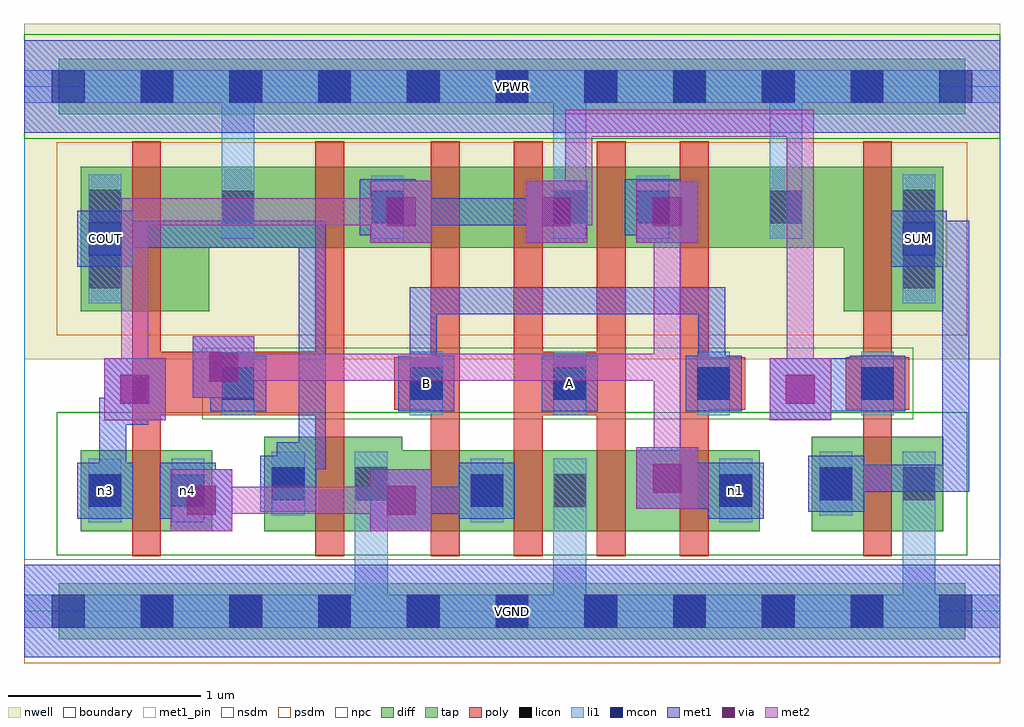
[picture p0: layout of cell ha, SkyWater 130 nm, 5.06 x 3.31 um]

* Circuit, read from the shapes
.subckt ha A B COUT SUM VGND VPWR n1 n3 n4
XM1 n4 n1 n3 VGND sky130_fd_pr__nfet_01v8 w=0.42 l=0.15
XM2 VGND n1 COUT VGND sky130_fd_pr__nfet_01v8 w=0.49 l=0.15
XM3 n4 B VGND VGND sky130_fd_pr__nfet_01v8 w=0.42 l=0.15
XM4 VGND A n4 VGND sky130_fd_pr__nfet_01v8 w=0.42 l=0.15
XM5 n2 A VGND VGND sky130_fd_pr__nfet_01v8 w=0.42 l=0.15
XM6 n1 B n2 VGND sky130_fd_pr__nfet_01v8 w=0.42 l=0.15
XM7 VGND n3 SUM VGND sky130_fd_pr__nfet_01v8 w=0.49 l=0.15
XM8 VPWR n1 COUT VPWR sky130_fd_pr__pfet_01v8 w=0.75 l=0.15
XM9 n3 n1 VPWR VPWR sky130_fd_pr__pfet_01v8 w=0.42 l=0.15
XM10 n5 B n3 VPWR sky130_fd_pr__pfet_01v8 w=0.42 l=0.15
XM11 VPWR A n5 VPWR sky130_fd_pr__pfet_01v8 w=0.42 l=0.15
XM12 n1 A VPWR VPWR sky130_fd_pr__pfet_01v8 w=0.42 l=0.15
XM13 VPWR B n1 VPWR sky130_fd_pr__pfet_01v8 w=0.42 l=0.15
XM14 SUM n3 VPWR VPWR sky130_fd_pr__pfet_01v8 w=0.75 l=0.15
.ends

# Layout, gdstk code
import gdstk
lib = gdstk.Library(unit=1e-6, precision=1e-09)
def R(c, l, rs):  # rectangles x0, y0, x1, y1
    for r in rs: c.add(gdstk.rectangle(r[:2], r[2:], *l))
def A(c, l, x, y, w, h, nx, ny, dx, dy):  # array of equal rectangles
    R(c, l, [(x+i*dx, y+j*dy, x+i*dx+w, y+j*dy+h) for i in range(nx) for j in range(ny)])
nwell = (64, 20)
diff = (65, 20)
tap = (65, 44)
poly = (66, 20)
licon = (66, 44)
li1 = (67, 20)
mcon = (67, 44)
met1_pin = (68, 16)
met1 = (68, 20)
via = (68, 44)
met2 = (69, 20)
nsdm = (93, 44)
psdm = (94, 20)
npc = (95, 20)
boundary = (235, 4)

c_ha = lib.new_cell('ha')
R(c_ha, nwell, [(0,1.305,5.06,3.045)])
R(c_ha, diff, [(0.295,0.415,0.975,0.835), (1.245,0.415,3.815,0.835), (1.245,0.415,1.96,0.905), (4.085,0.415,4.765,0.905), (0.295,1.555,0.96,2.305), (4.25,1.555,4.765,2.305), (0.295,1.885,4.765,2.305)])
R(c_ha, tap, [(0.18,-0.145,4.88,0.145), (0.18,2.575,4.88,2.865)])
A(c_ha, poly, 2.11, 0.285, 0.15, 2.15, 4, 1, 0.43, 0)
R(c_ha, poly, [(0.56,0.285,0.71,2.435), (1.51,0.285,1.66,2.435), (4.35,0.285,4.5,2.435), (0.56,1.015,1.66,1.345), (2.54,1.015,3.12,1.345), (1.92,1.045,2.25,1.315), (3.41,1.045,3.74,1.315), (4.26,1.045,4.59,1.315)])
A(c_ha, licon, 0.605, -0.085, 0.17, 0.17, 9, 2, 0.46, 2.72)
A(c_ha, licon, 2, 1.095, 0.17, 0.17, 3, 1, 0.745, 0)
R(c_ha, licon, [(0.335,0.54,0.505,0.71), (0.765,0.54,0.935,0.71), (2.315,0.54,2.485,0.71), (2.745,0.54,2.915,0.71), (3.605,0.54,3.775,0.71), (1.285,0.575,1.455,0.745), (1.715,0.575,1.885,0.745), (4.125,0.575,4.295,0.745), (4.555,0.575,4.725,0.745), (1.025,1.095,1.195,1.265), (4.34,1.095,4.51,1.265), (0.335,1.675,0.505,1.845), (4.555,1.675,4.725,1.845), (1.025,2.01,1.195,2.18), (1.8,2.01,1.97,2.18), (2.745,2.01,2.915,2.18), (3.175,2.01,3.345,2.18), (3.865,2.01,4.035,2.18), (0.335,2.015,0.505,2.185), (4.555,2.015,4.725,2.185)])
A(c_ha, li1, 2, 1.015, 0.17, 0.33, 3, 1, 0.745, 0)
R(c_ha, li1, [(0,-0.085,5.06,0.085), (1.715,-0.085,1.885,0.825), (2.745,-0.085,2.915,0.79), (4.555,-0.085,4.725,0.825), (0.335,0.46,0.505,0.79), (0.765,0.46,0.935,0.79), (2.315,0.46,2.485,0.79), (2.745,0.46,2.915,0.79), (3.605,0.46,3.775,0.79), (1.285,0.495,1.455,0.825), (1.715,0.495,1.885,0.825), (4.125,0.495,4.295,0.825), (4.555,0.495,4.725,0.825), (1.025,1.015,1.195,1.345), (4.34,1.015,4.51,1.345), (0.335,1.595,0.505,2.265), (4.555,1.595,4.725,2.265), (1.025,1.93,1.195,2.26), (1.025,1.93,1.195,2.805), (1.8,1.93,1.97,2.26), (2.745,1.93,2.915,2.26), (2.745,1.93,2.915,2.805), (3.175,1.93,3.345,2.26), (3.865,1.93,4.035,2.26), (3.865,1.93,4.035,2.805), (0,2.635,5.06,2.805)])
A(c_ha, mcon, 0.145, -0.085, 0.17, 0.17, 11, 2, 0.46, 2.72)
A(c_ha, mcon, 2, 1.095, 0.17, 0.17, 3, 1, 0.745, 0)
R(c_ha, mcon, [(0.335,0.54,0.505,0.71), (0.765,0.54,0.935,0.71), (2.315,0.54,2.485,0.71), (3.605,0.54,3.775,0.71), (1.285,0.575,1.455,0.745), (4.125,0.575,4.295,0.745), (1.025,1.095,1.195,1.265), (4.34,1.095,4.51,1.265), (0.335,1.845,0.505,2.015), (4.555,1.845,4.725,2.015), (1.8,2.01,1.97,2.18), (3.175,2.01,3.345,2.18)])
R(c_ha, met1_pin, [(0,-0.24,5.06,0.24), (1.94,1.035,2.23,1.325), (2.685,1.035,2.975,1.325), (0.275,1.785,0.565,2.075), (4.495,1.785,4.785,2.075), (0,2.48,5.06,2.96)])
A(c_ha, met1, 1.94, 1.035, 0.29, 0.29, 3, 1, 0.745, 0)
R(c_ha, met1, [(0,-0.24,5.06,0.24), (0.76,0.415,1.08,0.735), (1.795,0.415,2.115,0.735), (0.275,0.48,0.565,0.77), (0.705,0.48,0.995,0.77), (2.255,0.48,2.545,0.77), (3.545,0.48,3.835,0.77), (0.85,0.505,0.99,0.645), (1.885,0.505,2.485,0.645), (2.345,0.505,2.485,0.645), (1.225,0.515,1.515,0.805), (4.065,0.515,4.355,0.805), (3.175,0.53,3.495,0.85), (3.495,0.53,3.545,0.77), (0.39,0.62,0.53,0.76), (0.39,0.62,0.53,1.105), (1.31,0.62,1.45,0.76), (1.31,0.62,1.45,0.875), (3.265,0.62,3.75,0.76), (3.61,0.62,3.75,0.76), (4.185,0.62,4.325,0.76), (4.185,0.62,4.9,0.76), (4.76,0.62,4.9,2.025), (1.31,0.735,1.565,0.875), (1.425,0.735,1.565,2.025), (0.39,0.965,0.645,1.105), (0.505,0.965,0.645,1.22), (0.415,0.99,0.735,1.31), (3.865,0.99,4.185,1.31), (0.965,1.035,1.255,1.325), (4.185,1.035,4.28,1.31), (4.28,1.035,4.57,1.325), (0.965,1.08,1.105,1.22), (0.965,1.08,1.105,1.335), (2,1.08,2.14,1.22), (2,1.08,2.14,1.68), (3.495,1.08,3.635,1.22), (3.495,1.08,3.635,1.68), (3.955,1.08,4.44,1.22), (4.3,1.08,4.44,1.22), (0.875,1.105,1.195,1.425), (2,1.54,3.635,1.68), (0.275,1.785,0.565,2.075), (4.495,1.785,4.785,2.075), (0.39,1.885,0.53,2.025), (0.39,1.885,1.565,2.025), (4.645,1.885,4.785,2.025), (4.645,1.885,4.9,2.025), (1.795,1.91,2.115,2.23), (2.6,1.91,2.92,2.23), (3.175,1.91,3.495,2.23), (1.74,1.95,2.03,2.24), (3.115,1.95,3.405,2.24), (1.885,2,2.025,2.14), (1.885,2,2.83,2.14), (3.265,2,3.405,2.14), (0,2.48,5.06,2.96)])
R(c_ha, via, [(0.845,0.5,0.995,0.65), (1.88,0.5,2.03,0.65), (3.26,0.615,3.41,0.765), (0.5,1.075,0.65,1.225), (3.95,1.075,4.1,1.225), (0.96,1.19,1.11,1.34), (1.88,1.995,2.03,2.145), (2.685,1.995,2.835,2.145), (3.26,1.995,3.41,2.145)])
R(c_ha, met2, [(0.76,0.415,1.08,0.735), (1.795,0.415,2.115,0.735), (0.85,0.505,2.025,0.645), (3.175,0.53,3.495,0.85), (3.265,0.62,3.405,2.14), (0.415,0.99,0.735,1.31), (3.865,0.99,4.185,1.31), (0.505,1.08,0.645,2.14), (3.955,1.08,4.095,2.6), (0.875,1.105,1.195,1.425), (0.965,1.195,3.405,1.335), (1.795,1.91,2.115,2.23), (2.6,1.91,2.92,2.23), (3.175,1.91,3.495,2.23), (0.505,2,2.025,2.14), (2.69,2,2.945,2.14), (2.805,2,2.945,2.6), (2.805,2.46,4.095,2.6)])
R(c_ha, nsdm, [(0.17,0.29,4.89,1.03), (0,2.45,5.06,2.99)])
R(c_ha, psdm, [(0,-0.27,5.06,0.27), (0.17,1.43,4.89,2.43)])
R(c_ha, npc, [(0.925,0.995,4.61,1.365)])
R(c_ha, boundary, [(0,0,5.06,2.72)])
c_ha.add(gdstk.Label('n3', (0.42,0.625), layer=67, texttype=5))
c_ha.add(gdstk.Label('n4', (0.85,0.625), layer=67, texttype=5))
c_ha.add(gdstk.Label('n1', (3.69,0.625), layer=67, texttype=5))
c_ha.add(gdstk.Label('A', (2.83,1.18), layer=68, texttype=5))
c_ha.add(gdstk.Label('B', (2.085,1.18), layer=68, texttype=5))
c_ha.add(gdstk.Label('COUT', (0.42,1.93), layer=68, texttype=5))
c_ha.add(gdstk.Label('SUM', (4.64,1.93), layer=68, texttype=5))
c_ha.add(gdstk.Label('VPWR', (2.53,2.72), layer=68, texttype=5))
c_ha.add(gdstk.Label('VGND', (2.53,0), layer=68, texttype=5))
c_ha.add(gdstk.Label('A', (2.83,1.18), layer=68, texttype=16))
c_ha.add(gdstk.Label('B', (2.085,1.18), layer=68, texttype=16))
c_ha.add(gdstk.Label('COUT', (0.42,1.93), layer=68, texttype=16))
c_ha.add(gdstk.Label('SUM', (4.64,1.93), layer=68, texttype=16))
c_ha.add(gdstk.Label('VPWR', (2.53,2.72), layer=68, texttype=16))
c_ha.add(gdstk.Label('VGND', (2.53,0), layer=68, texttype=16))

lib.write_gds('ha.gds')
